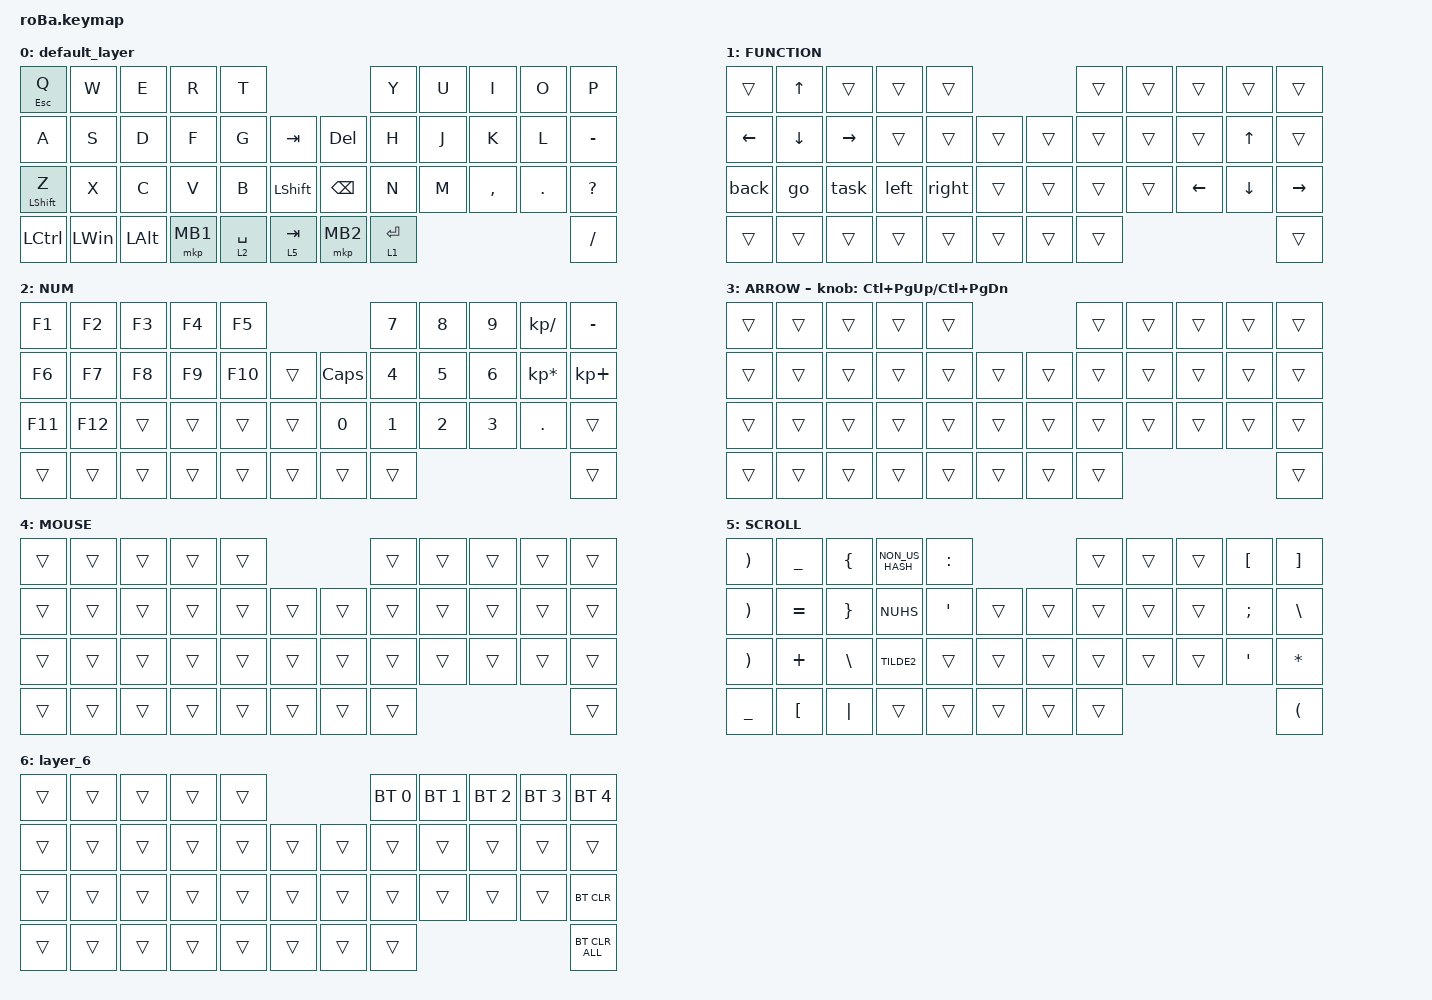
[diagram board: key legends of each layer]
#include <behaviors.dtsi>
#include <dt-bindings/zmk/bt.h>
#include <dt-bindings/zmk/keys.h>
#include <dt-bindings/zmk/pointing.h>

/ {
    combos { compatible = "zmk,combos"; };

    macros {
        right: right {
            compatible = "zmk,behavior-macro";
            #binding-cells = <0>;
            bindings = <&kp LC(PAGE_DOWN)>;
            label = "RIGHT";
        };

        left: left {
            compatible = "zmk,behavior-macro";
            #binding-cells = <0>;
            bindings = <&kp LC(PAGE_UP)>;
            label = "LEFT";
        };

        taskview: taskview {
            compatible = "zmk,behavior-macro";
            #binding-cells = <0>;
            bindings = <&kp LG(TAB)>;
            label = "TASKVIEW";
        };

        back: back {
            compatible = "zmk,behavior-macro";
            #binding-cells = <0>;
            bindings = <&kp LA(LEFT)>;
            label = "BACK";
        };

        go: go {
            compatible = "zmk,behavior-macro";
            #binding-cells = <0>;
            bindings = <&kp LA(RIGHT)>;
            label = "GO";
        };

        task: task {
            compatible = "zmk,behavior-macro";
            #binding-cells = <0>;
            bindings = <&kp RG(TAB)>;
            label = "TASK";
        };
    };

    keymap {
        compatible = "zmk,keymap";

        default_layer {
            bindings = <
&mt ESCAPE Q      &kp W         &kp E         &kp R     &kp T                                           &kp Y        &kp U  &kp I      &kp O    &kp P
&kp A             &kp S         &kp D         &kp F     &kp G        &kp TAB             &kp DEL        &kp H        &kp J  &kp K      &kp L    &kp MINUS
&mt LEFT_SHIFT Z  &kp X         &kp C         &kp V     &kp B        &kp LEFT_SHIFT      &kp BACKSPACE  &kp N        &kp M  &kp COMMA  &kp DOT  &kp QUESTION
&kp LCTRL         &kp LEFT_WIN  &kp LEFT_ALT  &mkp MB1  &lt 2 SPACE  &lt 5 TAB           &mkp MB2       &lt 1 ENTER                             &kp SLASH
            >;
        };

        FUNCTION {
            bindings = <
&trans    &kp UP_ARROW  &trans     &trans  &trans                      &trans  &trans  &trans          &trans        &trans
&kp LEFT  &kp DOWN      &kp RIGHT  &trans  &trans  &trans      &trans  &trans  &trans  &trans          &kp UP_ARROW  &trans
&back     &go           &task      &left   &right  &trans      &trans  &trans  &trans  &kp LEFT_ARROW  &kp DOWN      &kp RIGHT
&trans    &trans        &trans     &trans  &trans  &trans      &trans  &trans                                        &trans
            >;
        };

        NUM {
            bindings = <
&kp F1   &kp F2   &kp F3  &kp F4  &kp F5                         &kp N7        &kp N8        &kp N9        &kp KP_SLASH     &kp MINUS
&kp F6   &kp F7   &kp F8  &kp F9  &kp F10  &trans      &kp CAPS  &kp NUMBER_4  &kp N5        &kp NUMBER_6  &kp KP_ASTERISK  &kp KP_PLUS
&kp F11  &kp F12  &trans  &trans  &trans   &trans      &kp N0    &kp NUMBER_1  &kp NUMBER_2  &kp NUMBER_3  &kp PERIOD       &trans
&trans   &trans   &trans  &trans  &trans   &trans      &trans    &trans                                                     &trans
            >;
        };

        ARROW {
            bindings = <
&trans  &trans  &trans  &trans  &trans                      &trans  &trans  &trans  &trans  &trans
&trans  &trans  &trans  &trans  &trans  &trans      &trans  &trans  &trans  &trans  &trans  &trans
&trans  &trans  &trans  &trans  &trans  &trans      &trans  &trans  &trans  &trans  &trans  &trans
&trans  &trans  &trans  &trans  &trans  &trans      &trans  &trans                          &trans
            >;

            sensor-bindings = <&inc_dec_kp LC(PAGE_UP) LC(PAGE_DOWN)>;
        };

        MOUSE {
            bindings = <
&trans  &trans  &trans  &trans  &trans                      &trans  &trans  &trans  &trans  &trans
&trans  &trans  &trans  &trans  &trans  &trans      &trans  &trans  &trans  &trans  &trans  &trans
&trans  &trans  &trans  &trans  &trans  &trans      &trans  &trans  &trans  &trans  &trans  &trans
&trans  &trans  &trans  &trans  &trans  &trans      &trans  &trans                          &trans
            >;
        };

        SCROLL {
            bindings = <
&kp RIGHT_PARENTHESIS  &kp UNDER         &kp LEFT_BRACE   &kp NON_US_HASH  &kp COLON                             &trans  &trans  &trans  &kp LEFT_BRACKET  &kp RIGHT_BRACKET
&kp RPAR               &kp EQUAL         &kp RIGHT_BRACE  &kp NUHS         &kp SINGLE_QUOTE  &trans      &trans  &trans  &trans  &trans  &kp SEMICOLON     &kp BACKSLASH
&kp RIGHT_PARENTHESIS  &kp PLUS          &kp BACKSLASH    &kp TILDE2       &trans            &trans      &trans  &trans  &trans  &trans  &kp SINGLE_QUOTE  &kp ASTRK
&kp UNDERSCORE         &kp LEFT_BRACKET  &kp PIPE         &trans           &trans            &trans      &trans  &trans                                    &kp LEFT_PARENTHESIS
            >;
        };

        layer_6 {
            bindings = <
&trans  &trans  &trans  &trans  &trans                      &bt BT_SEL 0  &bt BT_SEL 1  &bt BT_SEL 2  &bt BT_SEL 3  &bt BT_SEL 4
&trans  &trans  &trans  &trans  &trans  &trans      &trans  &trans        &trans        &trans        &trans        &trans
&trans  &trans  &trans  &trans  &trans  &trans      &trans  &trans        &trans        &trans        &trans        &bt BT_CLR
&trans  &trans  &trans  &trans  &trans  &trans      &trans  &trans                                                  &bt BT_CLR_ALL
            >;
        };
    };
};
